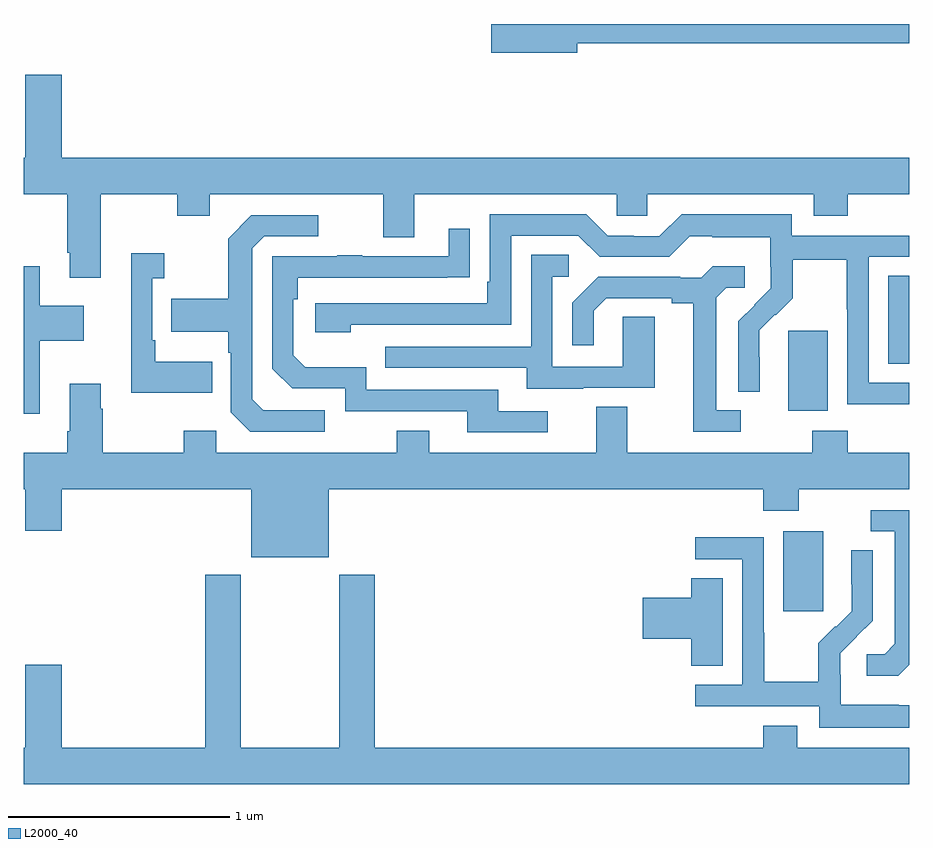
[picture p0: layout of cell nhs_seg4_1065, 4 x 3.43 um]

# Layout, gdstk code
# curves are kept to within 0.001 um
import gdstk
lib = gdstk.Library(unit=1e-6, precision=1e-09)
def R(c, l, rs):  # rectangles x0, y0, x1, y1
    for r in rs: c.add(gdstk.rectangle(r[:2], r[2:], *l))
def P(c, l, *ps):  # polygons
    for p in ps: c.add(gdstk.Polygon(p, *l))
L2000_40 = (2000, 40)

nhs_seg4_1065 = lib.new_cell('nhs_seg4_1065')
R(nhs_seg4_1065, L2000_40, [(168.431,816.249,168.61,816.61), (168.452,817.154,168.631,817.515), (168.905,817.366,169,817.763)])
P(nhs_seg4_1065, L2000_40, [(167.5,818.812),(169,818.812),(169,818.9),(167.112,818.9),(167.112,818.77),(167.5,818.77)],
  [(165.349,818.132),(165.694,818.132),(165.694,818.033),(165.841,818.033),(165.841,818.132),(166.625,818.132),(166.625,817.938),(166.765,817.938),(166.765,818.132),(167.679,818.132),(167.679,818.034),(167.817,818.034),(167.817,818.132),(168.569,818.132),(168.569,818.033),(168.722,818.033),(168.722,818.132),(169,818.132),(169,818.296),(165.172,818.296),(165.172,818.671),(165.008,818.671),(165.008,818.296),(165,818.296),(165,818.132),(165.197,818.132),(165.197,817.867),(165.209,817.867),(165.209,817.755),(165.349,817.755)],
  [(169,817.281),(168.816,817.281),(168.816,817.848),(169,817.848),(169,817.944),(168.468,817.944),(168.468,818.041),(167.971,818.041),(167.871,817.941),(167.756,817.941),(167.756,817.944),(167.637,817.944),(167.541,818.04),(167.106,818.04),(167.106,817.735),(167.093,817.735),(167.093,817.638),(166.317,817.638),(166.317,817.508),(166.478,817.508),(166.478,817.542),(167.202,817.542),(167.202,817.944),(167.505,817.944),(167.601,817.848),(167.916,817.848),(168.009,817.941),(168.109,817.941),(168.109,817.937),(168.372,817.937),(168.372,817.803),(168.374,817.803),(168.374,817.706),(168.228,817.558),(168.228,817.24),(168.324,817.24),(168.323,817.517),(168.393,817.587),(168.396,817.584),(168.473,817.661),(168.473,817.836),(168.718,817.836),(168.718,817.612),(168.72,817.612),(168.72,817.183),(169,817.183)],
  [(166.36,817.155),(166.083,817.155),(166.032,817.206),(166.032,817.887),(166.086,817.941),(166.33,817.941),(166.33,818.037),(166.029,818.037),(165.924,817.931),(165.924,817.659),(165.667,817.659),(165.667,817.511),(165.924,817.511),(165.924,817.415),(165.936,817.415),(165.936,817.146),(166.023,817.059),(166.36,817.059)],
  [(167.368,817.152),(167.143,817.152),(167.143,817.248),(166.548,817.248),(166.548,817.351),(166.271,817.351),(166.218,817.404),(166.218,817.658),(166.238,817.658),(166.238,817.755),(167.015,817.756),(167.015,817.975),(166.919,817.975),(166.919,817.851),(166.529,817.851),(166.529,817.856),(166.417,817.856),(166.417,817.851),(166.122,817.851),(166.122,817.344),(166.212,817.254),(166.452,817.254),(166.452,817.152),(167.003,817.152),(167.003,817.056),(167.368,817.056)],
  [(165.851,817.375),(165.595,817.375),(165.595,817.471),(165.582,817.471),(165.582,817.751),(165.634,817.751),(165.634,817.864),(165.485,817.864),(165.485,817.235),(165.851,817.235)],
  [(167.527,817.257),(167.851,817.257),(167.851,817.577),(167.706,817.577),(167.706,817.353),(167.388,817.353),(167.388,817.758),(167.461,817.758),(167.461,817.859),(167.292,817.859),(167.292,817.443),(166.633,817.443),(166.633,817.347),(167.273,817.347),(167.273,817.253),(167.527,817.253)],
  [(168.238,817.155),(168.127,817.155),(168.127,817.663),(168.174,817.71),(168.256,817.71),(168.256,817.807),(168.112,817.807),(168.06,817.755),(167.966,817.755),(167.966,817.758),(167.594,817.758),(167.478,817.642),(167.478,817.449),(167.575,817.449),(167.575,817.605),(167.632,817.662),(167.927,817.662),(167.927,817.64),(168.023,817.64),(168.023,817.059),(168.238,817.059)],
  [(165.073,817.469),(165.271,817.469),(165.271,817.627),(165.073,817.627),(165.073,817.807),(165,817.807),(165,817.14),(165.073,817.14)],
  [(166.378,816.8),(168.341,816.8),(168.341,816.701),(168.501,816.701),(168.501,816.8),(169,816.8),(169,816.964),(168.722,816.964),(168.722,817.063),(168.562,817.063),(168.562,816.964),(167.725,816.964),(167.725,817.172),(167.585,817.172),(167.585,816.964),(166.831,816.964),(166.831,817.063),(166.684,817.063),(166.684,816.964),(165.87,816.964),(165.87,817.063),(165.724,817.063),(165.724,816.964),(165.357,816.964),(165.357,817.163),(165.349,817.163),(165.349,817.276),(165.209,817.276),(165.209,817.06),(165.197,817.06),(165.197,816.964),(165,816.964),(165,816.8),(165.008,816.8),(165.008,816.612),(165.172,816.612),(165.172,816.8),(166.028,816.8),(166.028,816.491),(166.378,816.491)],
  [(169,816.007),(169,816.705),(168.825,816.705),(168.825,816.609),(168.935,816.609),(168.935,816.101),(168.888,816.054),(168.807,816.054),(168.807,815.957),(168.95,815.957)],
  [(169,815.823),(168.953,815.823),(168.953,815.827),(168.69,815.827),(168.69,815.961),(168.688,815.961),(168.688,816.058),(168.834,816.206),(168.834,816.524),(168.738,816.524),(168.738,816.37),(168.74,816.37),(168.74,816.248),(168.669,816.177),(168.666,816.18),(168.589,816.103),(168.589,815.929),(168.345,815.929),(168.345,816.152),(168.342,816.152),(168.342,816.582),(168.033,816.582),(168.033,816.483),(168.246,816.483),(168.246,815.916),(168.033,815.916),(168.033,815.82),(168.594,815.82),(168.594,815.723),(169,815.723)],
  [(169,815.632),(168.493,815.632),(168.493,815.731),(168.341,815.731),(168.341,815.632),(166.586,815.632),(166.586,816.412),(166.426,816.412),(166.426,815.632),(165.981,815.632),(165.981,816.412),(165.821,816.412),(165.821,815.632),(165.172,815.632),(165.172,816.007),(165.008,816.007),(165.008,815.632),(165,815.632),(165,815.468),(169,815.468)],
  [(168.157,816.398),(168.014,816.398),(168.014,816.308),(167.796,816.308),(167.796,816.125),(168.014,816.125),(168.014,816.001),(168.157,816.001)])

lib.write_gds('nhs_seg4_1065.gds')
